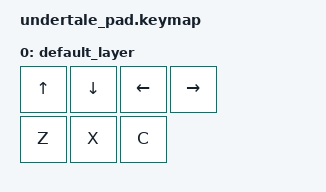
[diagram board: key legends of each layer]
#include <behaviors.dtsi>
#include <dt-bindings/zmk/keys.h>
#include <dt-bindings/zmk/bt.h>

/ {
    behaviors {
        bt_clear_hold: bt_clear_hold {
            compatible = "zmk,behavior-hold-tap";
            #binding-cells = <2>;
            flavor = "tap-preferred";
            tapping-term-ms = <2000>;
            bindings = <&bt>, <&none>;
        };
    };

    combos {
        compatible = "zmk,combos";
        combo_bt_clear {
            timeout-ms = <150>;
            key-positions = <0 4 5 6>;
            bindings = <&bt_clear_hold BT_CLR 0>;
        };
    };

    keymap {
        compatible = "zmk,keymap";

        default_layer {
            bindings = <
                &kp UP    &kp DOWN  &kp LEFT  &kp RIGHT
                &kp Z     &kp X     &kp C
            >;
        };
    };
};
